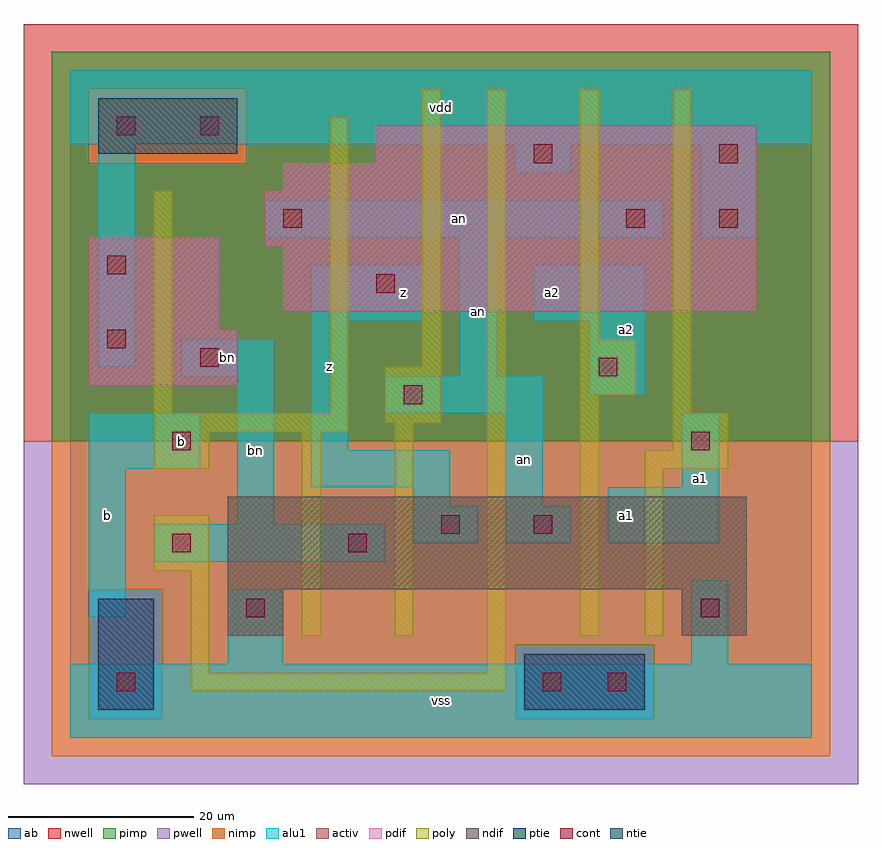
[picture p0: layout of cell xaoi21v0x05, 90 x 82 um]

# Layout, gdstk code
import gdstk
lib = gdstk.Library(unit=1e-6, precision=1e-09)
def R(c, l, rs):  # rectangles x0, y0, x1, y1
    for r in rs: c.add(gdstk.rectangle(r[:2], r[2:], *l))
ndif = (3, 0)
pdif = (4, 0)
ntie = (5, 0)
ptie = (6, 0)
cont = (25, 0)
pwell = (41, 0)
nwell = (42, 0)
activ = (43, 0)
pimp = (44, 0)
nimp = (45, 0)
poly = (46, 0)
alu1 = (49, 0)
ab = (63, 0)

xaoi21v0x05 = lib.new_cell('xaoi21v0x05')
R(xaoi21v0x05, ndif, [(17,11,23,16), (66,11,73,16), (17,16,73,26)])
R(xaoi21v0x05, pdif, [(2,38,18,44), (2,44,16,54), (23,46,74,53), (21,53,74,59), (23,59,74,62), (33,62,74,66)])
R(xaoi21v0x05, ntie, [(3,63,18,69)])
R(xaoi21v0x05, ptie, [(3,3,9,15), (49,3,62,9)])
R(xaoi21v0x05, cont, [(5,5,7,7), (51,5,53,7), (58,5,60,7), (19,13,21,15), (68,13,70,15), (11,20,13,22), (30,20,32,22), (40,22,42,24), (50,22,52,24), (11,31,13,33), (67,31,69,33), (36,36,38,38), (57,39,59,41), (14,40,16,42), (4,42,6,44), (33,48,35,50), (4,50,6,52), (23,55,25,57), (60,55,62,57), (70,55,72,57), (50,62,52,64), (70,62,72,64), (5,65,7,67), (14,65,16,67)])
R(xaoi21v0x05, pwell, [(-5,-5,85,32)])
R(xaoi21v0x05, nwell, [(-5,32,85,77)])
R(xaoi21v0x05, activ, [(3,3,9,15), (49,3,62,9), (17,11,23,16), (66,11,73,16), (17,16,73,26), (2,38,18,44), (2,44,16,54), (23,46,74,53), (21,53,74,59), (23,59,74,62), (33,62,74,66), (3,63,18,69)])
R(xaoi21v0x05, pimp, [(2,2,10,16), (48,2,63,10), (-2,32,82,62), (-2,62,2,70), (19,62,82,70), (-2,70,82,74)])
R(xaoi21v0x05, nimp, [(-2,-2,82,2), (-2,2,2,16), (10,2,48,10), (63,2,82,10), (10,10,82,16), (-2,16,82,32), (2,62,19,70)])
R(xaoi21v0x05, poly, [(13,5,47,7), (13,7,15,18), (45,7,47,70), (25,11,27,33), (35,11,37,34), (55,11,57,37), (62,11,64,29), (9,18,15,24), (9,29,15,33), (62,29,71,31), (65,31,71,35), (9,33,30,35), (34,34,40,40), (9,35,11,59), (28,35,30,67), (65,35,67,70), (55,37,61,43), (38,40,40,70), (55,43,57,70)])
R(xaoi21v0x05, alu1, [(0,0,80,8), (17,8,23,16), (67,8,71,17), (2,13,6,29), (9,19,34,23), (37,21,44,25), (47,21,54,25), (58,21,70,27), (18,23,22,39), (37,25,41,27), (47,25,51,35), (26,27,41,31), (66,27,70,35), (2,29,14,35), (26,31,30,45), (34,35,51,39), (56,37,62,45), (12,39,22,43), (42,39,46,54), (3,40,7,64), (26,45,38,51), (50,45,62,51), (21,54,64,58), (68,54,74,64), (48,61,54,64), (0,64,80,72)])
R(xaoi21v0x05, ab, [(0,0,80,72)])
xaoi21v0x05.add(gdstk.Label('bn', (20,31), layer=49, texttype=0))
xaoi21v0x05.add(gdstk.Label('bn', (17,41), layer=49, texttype=0))
xaoi21v0x05.add(gdstk.Label('an', (49,30), layer=49, texttype=0))
xaoi21v0x05.add(gdstk.Label('an', (44,46), layer=49, texttype=0))
xaoi21v0x05.add(gdstk.Label('an', (42,56), layer=49, texttype=0))
xaoi21v0x05.add(gdstk.Label('b', (12,32), layer=49, texttype=0))
xaoi21v0x05.add(gdstk.Label('b', (4,24), layer=49, texttype=0))
xaoi21v0x05.add(gdstk.Label('z', (28,40), layer=49, texttype=0))
xaoi21v0x05.add(gdstk.Label('z', (36,48), layer=49, texttype=0))
xaoi21v0x05.add(gdstk.Label('vss', (40,4), layer=49, texttype=0))
xaoi21v0x05.add(gdstk.Label('a2', (52,48), layer=49, texttype=0))
xaoi21v0x05.add(gdstk.Label('vdd', (40,68), layer=49, texttype=0))
xaoi21v0x05.add(gdstk.Label('a1', (60,24), layer=49, texttype=0))
xaoi21v0x05.add(gdstk.Label('a1', (68,28), layer=49, texttype=0))
xaoi21v0x05.add(gdstk.Label('a2', (60,44), layer=49, texttype=0))

lib.write_gds('xaoi21v0x05.gds')
